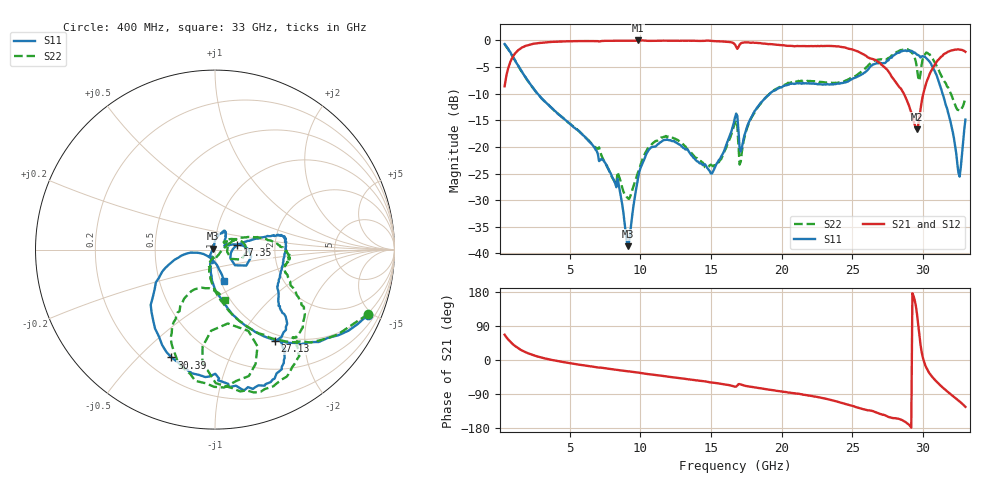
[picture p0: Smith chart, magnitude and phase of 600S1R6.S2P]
!  American Technical Ceramics  Date:  10/26/00
!  One Norden Lane
!  Huntington Station,  NY.  11746-2102
!  Tel:  (631) 622-4700  Fax:  (631) 622-4748
!  Part Number  600S1R6BW  Mounting Orientation: Horizontal
!  Description: Ultra Low ESR Microwave capacitors
!  Application: Coupling, Bypass, Tuning, DC Block
!  Filters, Matching
# GHZ S DB R 50
! Freq  |S11|  S11 Ph  |S21|  S21 Ph  |S12|  S12 Ph  |S22|  S22 Ph
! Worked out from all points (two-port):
!   401 points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, 400 MHz to 33 GHz, reference 50 ohm
!   highest |S21| = 0.00 dB at 9.854 GHz (marker M1); lowest = -16.7 dB at 29.58 GHz (marker M2)
!   |S21| within 3 dB of the highest: 1 GHz to 26.02 GHz (25.02 GHz wide, 185 % of centre); 31.31 GHz to end of sweep
!   lowest |S11| = -38.6 dB at 9.121 GHz (marker M3), VSWR 1.02, Z = 48.9 + j0.482 ohm
!   |S11| at or under -10 dB: 2.737 GHz to 19.16 GHz (16.43 GHz wide, 150 % of centre); 31.38 GHz to end of sweep
!   |S22| runs from -29.8 to -0.7 dB; largest |S21 - S12| = 0.0079
!   S11 on the Smith chart (normalised r, x): 400 MHz: 0.92, -4.70; 17.35 GHz: 1.28, +0.06; 27.13 GHz: 0.89, -1.45; 30.39 GHz: 0.30, -0.63; 33 GHz: 1.04, -0.37
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0.4  -0.67 -23.2  -8.61 66.7  -8.61 66.5  -0.66 -22.9
2.193  -8.13 -73.2  -0.77 15.9  -0.78 16.0  -8.16 -73.6
5.861  -17.56 -100.0  -0.13 -13.3  -0.12 -13.4  -17.53 -104.0
8.387  -25.96 -128.3  -0.06 -26.4  -0.07 -26.6  -24.67 -91.6
9.121  -38.63 155.1  -0.05 -29.8  -0.06 -29.9  -29.63 -40.6
9.854  -25.68 88.7  0.00 -33.3  -0.01 -33.4  -24.67 14.7
11.321  -19.34 67.0  -0.06 -40.6  -0.06 -40.8  -18.56 26.9
15.07  -24.98 23.0  -0.12 -59.5  -0.12 -59.5  -23.48 38.7
16.7  -14.46 0.0  -0.77 -70.5  -0.77 -70.2  -15.41 9.0
17.108  -20.86 -10.9  -0.56 -64.6  -0.56 -64.7  -22.72 14.0
17.352  -17.94 11.0  -0.37 -67.4  -0.37 -67.4  -18.36 26.0
19.145  -10.05 13.7  -0.67 -78.4  -0.68 -78.3  -10.02 9.2
22.161  -8.13 0.6  -1.07 -95.1  -1.06 -95.0  -7.65 -8.0
27.132  -4.30 -56.9  -4.70 -144.4  -4.74 -144.3  -3.61 -48.1
27.621  -3.44 -55.5  -6.06 -151.0  -6.07 -151.0  -3.23 -48.6
28.925  -1.96 -73.6  -11.67 -168.2  -11.62 -168.0  -1.67 -74.8
29.577  -2.67 -87.2  -16.68 120.7  -16.82 120.5  -5.27 -97.3
29.985  -2.95 -94.3  -10.41 7.1  -10.48 6.5  -3.40 -70.5
30.392  -3.77 -112.0  -6.89 -31.3  -6.86 -30.9  -2.54 -94.0
31.452  -10.52 -159.5  -2.63 -74.5  -2.61 -74.2  -7.45 -120.5
32.511  -24.92 -143.5  -1.67 -106.8  -1.67 -107.0  -13.08 -104.1
33  -14.87 -74.1  -2.13 -123.6  -2.10 -123.6  -10.91 -79.1
